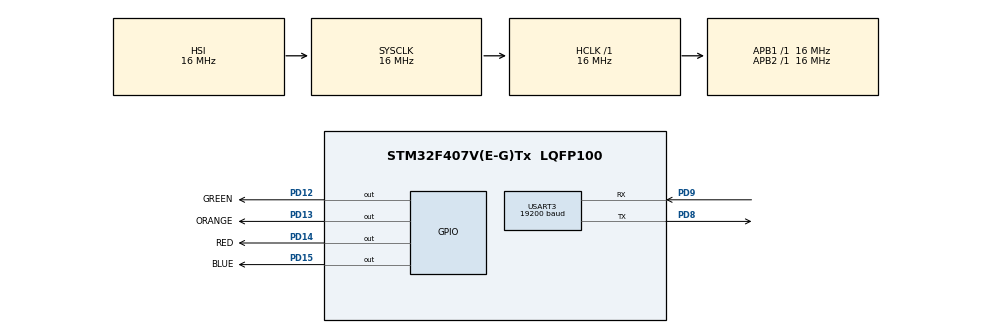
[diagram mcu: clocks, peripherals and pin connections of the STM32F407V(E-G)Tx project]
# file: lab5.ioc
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Mcu.Family=STM32F4
Mcu.Name=STM32F407V(E-G)Tx
Mcu.Package=LQFP100
NVIC.PriorityGroup=NVIC_PRIORITYGROUP_4
PD12.GPIO_Label=GREEN
PD12.Signal=GPIO_Output
PD13.GPIO_Label=ORANGE
PD13.Signal=GPIO_Output
PD14.GPIO_Label=RED
PD14.Signal=GPIO_Output
PD15.GPIO_Label=BLUE
PD15.Signal=GPIO_Output
PD8.Mode=Asynchronous
PD8.Signal=USART3_TX
PD9.Mode=Asynchronous
PD9.Signal=USART3_RX
ProjectManager.HeapSize=0x200
ProjectManager.StackSize=0x400
ProjectManager.TargetToolchain=STM32CubeIDE
RCC.AHBFreq_Value=16000000
RCC.APB1Freq_Value=16000000
RCC.APB2Freq_Value=16000000
RCC.CortexFreq_Value=16000000
RCC.HSE_VALUE=25000000
RCC.HSI_VALUE=16000000
RCC.LSE_VALUE=32768
RCC.SYSCLKFreq_VALUE=16000000
RCC.VCOOutputFreq_Value=192000000
USART3.BaudRate=19200
USART3.VirtualMode=VM_ASYNC
board=custom

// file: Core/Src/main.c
/* USER CODE BEGIN Header */
/**
  ******************************************************************************
  * @file           : main.c
  * @brief          : Main program body
  ******************************************************************************
  * @attention
  *
  * Copyright (c) 2023 STMicroelectronics.
  * All rights reserved.
  *
  * This software is licensed under terms that can be found in the LICENSE file
  * in the root directory of this software component.
  * If no LICENSE file comes with this software, it is provided AS-IS.
  *
  ******************************************************************************
  */
/* USER CODE END Header */
#include "main.h"

UART_HandleTypeDef huart3;

void SystemClock_Config(void);
static void MX_GPIO_Init(void);
static void MX_USART3_UART_Init(void);

/* USER CODE BEGIN 0 */

void write_uart(const char* str) {
	HAL_UART_Transmit(&huart3, (uint8_t*) str, strlen(str), 100);
}

/* USER CODE END 0 */

int main(void)
{

  /* MCU Configuration--------------------------------------------------------*/

  /* Reset of all peripherals, Initializes the Flash interface and the Systick. */
  HAL_Init();

  /* Configure the system clock */
  SystemClock_Config();

  /* Initialize all configured peripherals */
  MX_GPIO_Init();
  MX_USART3_UART_Init();

  /* Infinite loop */
  /* USER CODE BEGIN WHILE */
  while (1)
  {
		uint8_t rcvBuf[1];
		HAL_StatusTypeDef result;

		result = HAL_UART_Receive(&huart3, rcvBuf, 1, 10);

		if (result == HAL_OK)
		{
		  HAL_UART_Transmit(&huart3, rcvBuf, 1, 100);

		  switch (rcvBuf[0])
		  {
			  case '1':
				  HAL_GPIO_WritePin(GREEN_GPIO_Port, GREEN_Pin, GPIO_PIN_SET);
				  write_uart(" - Green ON\r\n");
				  break;

			  case '2':
				  HAL_GPIO_WritePin(GREEN_GPIO_Port, GREEN_Pin, GPIO_PIN_RESET);
				  write_uart(" - Green OFF\r\n");
				  break;

			  case '3':
				  HAL_GPIO_WritePin(ORANGE_GPIO_Port, ORANGE_Pin, GPIO_PIN_SET);
				  write_uart(" - Orange ON\r\n");
				  break;

			  case '4':
				  HAL_GPIO_WritePin(ORANGE_GPIO_Port, ORANGE_Pin, GPIO_PIN_RESET);
				  write_uart(" - Orange OFF\r\n");
				  break;

			  case '5':
				  HAL_GPIO_WritePin(RED_GPIO_Port, RED_Pin, GPIO_PIN_SET);
				  write_uart(" - Red ON\r\n");
				  break;

			  case '6':
				  HAL_GPIO_WritePin(RED_GPIO_Port, RED_Pin, GPIO_PIN_RESET);
				  write_uart(" - Red OFF\r\n");
				  break;

			  case '7':
				  HAL_GPIO_WritePin(BLUE_GPIO_Port, BLUE_Pin, GPIO_PIN_SET);
				  write_uart(" - Blue ON\r\n");
				  break;

			  case '8':
				  HAL_GPIO_WritePin(BLUE_GPIO_Port, BLUE_Pin, GPIO_PIN_RESET);
				  write_uart(" - Blue OFF\r\n");
				  break;

			  case '9':
				  HAL_GPIO_WritePin(GREEN_GPIO_Port, GREEN_Pin, GPIO_PIN_SET);
				  HAL_GPIO_WritePin(ORANGE_GPIO_Port, ORANGE_Pin, GPIO_PIN_SET);
				  HAL_GPIO_WritePin(RED_GPIO_Port, RED_Pin, GPIO_PIN_SET);
				  HAL_GPIO_WritePin(BLUE_GPIO_Port, BLUE_Pin, GPIO_PIN_SET);
				  write_uart(" - All ON\r\n");
				  break;

			  case '0':
				  HAL_GPIO_WritePin(GREEN_GPIO_Port, GREEN_Pin, GPIO_PIN_RESET);
				  HAL_GPIO_WritePin(ORANGE_GPIO_Port, ORANGE_Pin, GPIO_PIN_RESET);
				  HAL_GPIO_WritePin(RED_GPIO_Port, RED_Pin, GPIO_PIN_RESET);
				  HAL_GPIO_WritePin(BLUE_GPIO_Port, BLUE_Pin, GPIO_PIN_RESET);
				  write_uart(" - All OFF\r\n");
				  break;

			  default:
				  write_uart(" - UnexpCmd\r\n");
				  break;
		  }
		}
/* USER CODE END WHILE */

  }
}

void SystemClock_Config(void)
{
  RCC_OscInitTypeDef RCC_OscInitStruct = {0};
  RCC_ClkInitTypeDef RCC_ClkInitStruct = {0};

  /** Configure the main internal regulator output voltage
  */
  __HAL_RCC_PWR_CLK_ENABLE();
  __HAL_PWR_VOLTAGESCALING_CONFIG(PWR_REGULATOR_VOLTAGE_SCALE1);

  /** Initializes the RCC Oscillators according to the specified parameters
  * in the RCC_OscInitTypeDef structure.
  */
  RCC_OscInitStruct.OscillatorType = RCC_OSCILLATORTYPE_HSI;
  RCC_OscInitStruct.HSIState = RCC_HSI_ON;
  RCC_OscInitStruct.HSICalibrationValue = RCC_HSICALIBRATION_DEFAULT;
  RCC_OscInitStruct.PLL.PLLState = RCC_PLL_NONE;
  if (HAL_RCC_OscConfig(&RCC_OscInitStruct) != HAL_OK)
  {
    Error_Handler();
  }

  /** Initializes the CPU, AHB and APB buses clocks
  */
  RCC_ClkInitStruct.ClockType = RCC_CLOCKTYPE_HCLK|RCC_CLOCKTYPE_SYSCLK
                              |RCC_CLOCKTYPE_PCLK1|RCC_CLOCKTYPE_PCLK2;
  RCC_ClkInitStruct.SYSCLKSource = RCC_SYSCLKSOURCE_HSI;
  RCC_ClkInitStruct.AHBCLKDivider = RCC_SYSCLK_DIV1;
  RCC_ClkInitStruct.APB1CLKDivider = RCC_HCLK_DIV1;
  RCC_ClkInitStruct.APB2CLKDivider = RCC_HCLK_DIV1;

  if (HAL_RCC_ClockConfig(&RCC_ClkInitStruct, FLASH_LATENCY_0) != HAL_OK)
  {
    Error_Handler();
  }
}

static void MX_USART3_UART_Init(void)
{

  huart3.Instance = USART3;
  huart3.Init.BaudRate = 19200;
  huart3.Init.WordLength = UART_WORDLENGTH_8B;
  huart3.Init.StopBits = UART_STOPBITS_1;
  huart3.Init.Parity = UART_PARITY_NONE;
  huart3.Init.Mode = UART_MODE_TX_RX;
  huart3.Init.HwFlowCtl = UART_HWCONTROL_NONE;
  huart3.Init.OverSampling = UART_OVERSAMPLING_16;
  if (HAL_UART_Init(&huart3) != HAL_OK)
  {
    Error_Handler();
  }

}

static void MX_GPIO_Init(void)
{
  GPIO_InitTypeDef GPIO_InitStruct = {0};

  /* GPIO Ports Clock Enable */
  __HAL_RCC_GPIOD_CLK_ENABLE();

  /*Configure GPIO pin Output Level */
  HAL_GPIO_WritePin(GPIOD, GREEN_Pin|ORANGE_Pin|RED_Pin|BLUE_Pin, GPIO_PIN_RESET);

  /*Configure GPIO pins : GREEN_Pin ORANGE_Pin RED_Pin BLUE_Pin */
  GPIO_InitStruct.Pin = GREEN_Pin|ORANGE_Pin|RED_Pin|BLUE_Pin;
  GPIO_InitStruct.Mode = GPIO_MODE_OUTPUT_PP;
  GPIO_InitStruct.Pull = GPIO_NOPULL;
  GPIO_InitStruct.Speed = GPIO_SPEED_FREQ_LOW;
  HAL_GPIO_Init(GPIOD, &GPIO_InitStruct);

}

void Error_Handler(void)
{
  __disable_irq();
  while (1)
  {
  }
}
